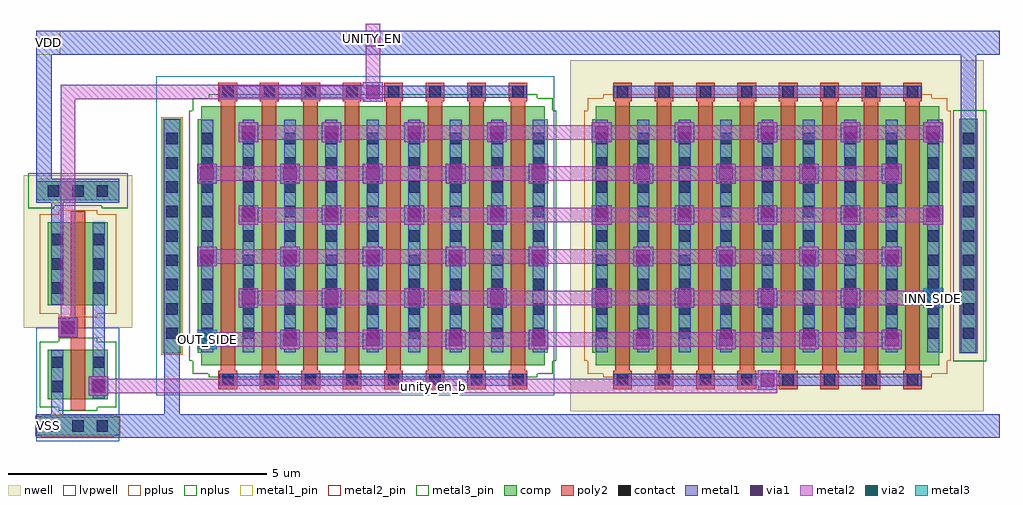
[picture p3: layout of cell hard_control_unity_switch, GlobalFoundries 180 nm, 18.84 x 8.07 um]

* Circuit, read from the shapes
.subckt hard_control_unity_switch INN_SIDE OUT_SIDE UNITY_EN VDD VSS unity_en_b
XM1 unity_en_b UNITY_EN VSS VSS nfet_03v3 w=0.95u l=0.28u
XM2 INN_SIDE UNITY_EN OUT_SIDE VSS nfet_03v3 w=5u l=0.28u m=8
XM3 unity_en_b UNITY_EN VDD VDD pfet_03v3 w=1.6u l=0.28u
XM4 OUT_SIDE unity_en_b INN_SIDE VDD pfet_03v3 w=5u l=0.28u m=8
.ends

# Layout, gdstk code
import gdstk
lib = gdstk.Library(unit=1e-6, precision=1e-09)
def R(c, l, rs):  # rectangles x0, y0, x1, y1
    for r in rs: c.add(gdstk.rectangle(r[:2], r[2:], *l))
def A(c, l, x, y, w, h, nx, ny, dx, dy):  # array of equal rectangles
    R(c, l, [(x+i*dx, y+j*dy, x+i*dx+w, y+j*dy+h) for i in range(nx) for j in range(ny)])
nwell = (21, 0)
comp = (22, 0)
poly2 = (30, 0)
pplus = (31, 0)
nplus = (32, 0)
contact = (33, 0)
metal1 = (34, 0)
metal1_pin = (34, 10)
via1 = (35, 0)
metal2 = (36, 0)
metal2_pin = (36, 10)
via2 = (38, 0)
metal3 = (42, 0)
metal3_pin = (42, 10)
lvpwell = (204, 0)

pfet_03v3_d4l52t = lib.new_cell('pfet_03v3_D4L52T')
R(pfet_03v3_d4l52t, nwell, [(-3.81,-3.39,3.81,3.39)])
R(pfet_03v3_d4l52t, comp, [(-3.315,-2.5,3.315,-2.255), (-3.38,-2.255,3.38,2.255), (-3.315,2.255,3.315,2.5)])
A(pfet_03v3_d4l52t, poly2, -2.98, -2.96, 0.36, 0.36, 8, 2, 0.8, 5.56)
A(pfet_03v3_d4l52t, poly2, -2.94, -2.6, 0.28, 5.2, 8, 1, 0.8, 0)
R(pfet_03v3_d4l52t, pplus, [(-3.17,-2.73,3.17,-2.66), (-3.475,-2.66,3.475,-2.415), (-3.54,-2.415,3.54,2.415), (-3.475,2.415,3.475,2.66), (-3.17,2.66,3.17,2.73)])
A(pfet_03v3_d4l52t, contact, -2.91, -2.89, 0.22, 0.22, 8, 2, 0.8, 5.56)
A(pfet_03v3_d4l52t, contact, -3.31, -1.99, 0.22, 0.22, 9, 9, 0.8, 0.47)
A(pfet_03v3_d4l52t, metal1, -2.97, -2.895, 0.34, 0.23, 8, 2, 0.8, 5.56)
A(pfet_03v3_d4l52t, metal1, -3.315, -2.245, 0.23, 4.49, 9, 1, 0.8, 0)

nfet_03v3_nd3l26 = lib.new_cell('nfet_03v3_ND3L26')
R(nfet_03v3_nd3l26, comp, [(-3.315,-2.5,3.315,-2.255), (-3.38,-2.255,3.38,2.255), (-3.315,2.255,3.315,2.5)])
A(nfet_03v3_nd3l26, poly2, -2.98, -2.96, 0.36, 0.36, 8, 2, 0.8, 5.56)
A(nfet_03v3_nd3l26, poly2, -2.94, -2.6, 0.28, 5.2, 8, 1, 0.8, 0)
R(nfet_03v3_nd3l26, nplus, [(-3.17,-2.73,3.17,-2.66), (-3.475,-2.66,3.475,-2.415), (-3.54,-2.415,3.54,2.415), (-3.475,2.415,3.475,2.66), (-3.17,2.66,3.17,2.73)])
A(nfet_03v3_nd3l26, contact, -2.91, -2.89, 0.22, 0.22, 8, 2, 0.8, 5.56)
A(nfet_03v3_nd3l26, contact, -3.31, -1.99, 0.22, 0.22, 9, 9, 0.8, 0.47)
A(nfet_03v3_nd3l26, metal1, -2.97, -2.895, 0.34, 0.23, 8, 2, 0.8, 5.56)
A(nfet_03v3_nd3l26, metal1, -3.315, -2.245, 0.23, 4.49, 9, 1, 0.8, 0)
R(nfet_03v3_nd3l26, lvpwell, [(-3.5,-3.08,3.5,3.08)])

switch_tg_analog_nf08 = lib.new_cell('switch_tg_analog_nf08')
R(switch_tg_analog_nf08, nwell, [(8.105,-3.39,16.095,3.39)])
R(switch_tg_analog_nf08, comp, [(0.235,-2.265,0.595,2.265), (15.615,-2.265,15.975,2.265)])
R(switch_tg_analog_nf08, pplus, [(0.205,-2.295,0.625,2.295)])
R(switch_tg_analog_nf08, nplus, [(15.505,-2.425,16.135,2.425)])
A(switch_tg_analog_nf08, contact, 0.305, -1.99, 0.22, 0.22, 1, 9, 0, 0.47)
A(switch_tg_analog_nf08, contact, 15.685, -1.99, 0.22, 0.22, 1, 9, 0, 0.47)
A(switch_tg_analog_nf08, metal1, 0.905, -2.19, 0.38, 0.38, 5, 3, 1.6, 1.6)
A(switch_tg_analog_nf08, metal1, 9.325, -2.19, 0.38, 0.38, 4, 3, 1.6, 1.6)
A(switch_tg_analog_nf08, metal1, 1.705, -1.39, 0.38, 0.38, 4, 3, 1.6, 1.6)
A(switch_tg_analog_nf08, metal1, 8.525, -1.39, 0.38, 0.38, 5, 3, 1.6, 1.6)
R(switch_tg_analog_nf08, metal1, [(1.325,-2.895,7.265,-2.665), (8.945,-2.895,14.885,-2.665), (0.265,-2.255,0.565,2.255), (15.645,-2.255,15.945,2.255), (1.325,2.665,7.265,2.895), (8.945,2.665,14.885,2.895)])
R(switch_tg_analog_nf08, metal1_pin, [(0.265,-0.5,0.565,0.5), (15.645,-0.5,15.945,0.5), (1.325,2.665,7.265,2.895), (8.945,2.665,14.885,2.895)])
A(switch_tg_analog_nf08, via1, 0.965, -2.13, 0.26, 0.26, 5, 3, 1.6, 1.6)
A(switch_tg_analog_nf08, via1, 9.385, -2.13, 0.26, 0.26, 4, 3, 1.6, 1.6)
A(switch_tg_analog_nf08, via1, 1.765, -1.33, 0.26, 0.26, 4, 3, 1.6, 1.6)
A(switch_tg_analog_nf08, via1, 8.585, -1.33, 0.26, 0.26, 5, 3, 1.6, 1.6)
A(switch_tg_analog_nf08, metal2, 0.905, -2.19, 0.38, 0.05, 5, 2, 1.6, 0.33)
A(switch_tg_analog_nf08, metal2, 9.325, -2.19, 0.38, 0.05, 4, 2, 1.6, 0.33)
A(switch_tg_analog_nf08, metal2, 0.905, -2.14, 13.6, 0.28, 1, 3, 0, 1.6)
A(switch_tg_analog_nf08, metal2, 1.705, -1.39, 0.38, 0.05, 4, 2, 1.6, 0.33)
A(switch_tg_analog_nf08, metal2, 8.525, -1.39, 0.38, 0.05, 5, 2, 1.6, 0.33)
A(switch_tg_analog_nf08, metal2, 1.705, -1.34, 13.6, 0.28, 1, 3, 0, 1.6)
A(switch_tg_analog_nf08, metal2, 0.905, -0.59, 0.38, 0.05, 5, 2, 1.6, 0.33)
A(switch_tg_analog_nf08, metal2, 9.325, -0.59, 0.38, 0.05, 4, 2, 1.6, 0.33)
A(switch_tg_analog_nf08, metal2, 1.705, 0.21, 0.38, 0.05, 4, 2, 1.6, 0.33)
A(switch_tg_analog_nf08, metal2, 8.525, 0.21, 0.38, 0.05, 5, 2, 1.6, 0.33)
A(switch_tg_analog_nf08, metal2, 0.905, 1.01, 0.38, 0.05, 5, 2, 1.6, 0.33)
A(switch_tg_analog_nf08, metal2, 9.325, 1.01, 0.38, 0.05, 4, 2, 1.6, 0.33)
A(switch_tg_analog_nf08, metal2, 1.705, 1.81, 0.38, 0.05, 4, 2, 1.6, 0.33)
A(switch_tg_analog_nf08, metal2, 8.525, 1.81, 0.38, 0.05, 5, 2, 1.6, 0.33)
R(switch_tg_analog_nf08, metal2_pin, [(0.905,-2.14,1.285,-1.86), (14.925,-1.34,15.305,-1.06)])
R(switch_tg_analog_nf08, lvpwell, [(0.115,-3.08,7.795,3.08)])
switch_tg_analog_nf08.add(gdstk.Reference(pfet_03v3_d4l52t, (11.915,0)))
switch_tg_analog_nf08.add(gdstk.Reference(nfet_03v3_nd3l26, (4.295,0)))
switch_tg_analog_nf08.add(gdstk.Label('G', (4.295,2.78), layer=34, texttype=10))
switch_tg_analog_nf08.add(gdstk.Label('GB', (11.915,2.78), layer=34, texttype=10))
switch_tg_analog_nf08.add(gdstk.Label('VSS', (0.415,0), layer=34, texttype=10))
switch_tg_analog_nf08.add(gdstk.Label('VDD', (15.795,0), layer=34, texttype=10))
switch_tg_analog_nf08.add(gdstk.Label('A', (1.095,-2), layer=36, texttype=10))
switch_tg_analog_nf08.add(gdstk.Label('B', (15.115,-1.2), layer=36, texttype=10))

logic_inverter_1x = lib.new_cell('logic_inverter_1x')
R(logic_inverter_1x, nwell, [(-0.25,2.13,1.85,5.07)])
R(logic_inverter_1x, comp, [(0,0.05,1.6,0.41), (0.22,0.75,1.38,1.7), (0.22,2.56,1.38,4.16), (0,4.59,1.6,4.95)])
R(logic_inverter_1x, poly2, [(0.66,0.53,0.94,1.95), (0.42,1.95,0.94,2.31), (0.66,2.31,0.94,4.38)])
R(logic_inverter_1x, pplus, [(0.105,0.02,1.495,0.03), (-0.02,0.03,1.62,0.43), (0.105,0.43,1.495,0.44), (0.43,2.33,1.17,2.4), (0.06,2.4,1.54,4.32), (0.43,4.32,1.17,4.39)])
R(logic_inverter_1x, nplus, [(0.43,0.52,1.17,0.59), (0.06,0.59,1.54,1.86), (0.43,1.86,1.17,1.93), (-0.16,4.43,0.34,4.48), (1.26,4.43,1.76,4.48), (-0.16,4.48,1.76,5.11)])
A(logic_inverter_1x, contact, 0.22, 0.12, 0.22, 0.22, 3, 2, 0.47, 4.54)
A(logic_inverter_1x, contact, 0.29, 2.78, 0.22, 0.22, 1, 3, 0, 0.47)
A(logic_inverter_1x, contact, 1.09, 2.78, 0.22, 0.22, 1, 3, 0, 0.47)
R(logic_inverter_1x, contact, [(0.29,0.88,0.51,1.1), (1.09,0.88,1.31,1.1), (0.29,1.35,0.51,1.57), (1.09,1.35,1.31,1.57), (0.49,2.02,0.71,2.24)])
R(logic_inverter_1x, metal1, [(0,0,1.6,0.46), (0.285,0.46,0.515,1.69), (1.085,0.76,1.315,4.15), (0.42,1.94,0.8,2.32), (0.285,2.57,0.515,4.54), (0,4.54,1.6,5)])
R(logic_inverter_1x, metal1_pin, [(0,0,1.6,0.46), (1.085,1.93,1.315,2.33), (0.42,1.94,0.8,2.32), (0,4.54,1.6,5)])
R(logic_inverter_1x, lvpwell, [(0,-0.07,1.6,2.13)])
logic_inverter_1x.add(gdstk.Label('IN', (0.61,2.13), layer=34, texttype=10))
logic_inverter_1x.add(gdstk.Label('OUT', (1.2,2.13), layer=34, texttype=10))
logic_inverter_1x.add(gdstk.Label('VDD', (0.8,4.77), layer=34, texttype=10))
logic_inverter_1x.add(gdstk.Label('VSS', (0.8,0.23), layer=34, texttype=10))

hard_control_unity_switc = lib.new_cell('hard_control_unity_switch')
R(hard_control_unity_switc, metal1, [(0,0,18.595,0.46), (2.465,0.46,2.765,1.9), (1.01,0.81,1.39,1.19), (13.925,0.93,14.305,1.31), (0.42,1.94,0.8,2.32), (0,4.54,0.3,7.4), (17.845,5.9,18.145,7.4), (6.305,6.49,6.685,6.87), (0,7.4,18.595,7.86)])
R(hard_control_unity_switc, metal1_pin, [(0,0,0.46,0.46), (0,7.4,0.46,7.86)])
R(hard_control_unity_switc, via1, [(1.07,0.87,1.33,1.13), (13.985,0.99,14.245,1.25), (0.48,2,0.74,2.26), (6.365,6.55,6.625,6.81)])
R(hard_control_unity_switc, metal2, [(1.01,0.81,1.39,0.86), (1.01,0.86,14.305,1.14), (1.01,1.14,1.39,1.19), (13.925,1.14,14.305,1.31), (3.105,1.71,3.485,2.09), (0.42,1.94,0.8,2.32), (0.47,2.32,0.75,6.54), (17.125,2.51,17.505,2.89), (6.305,6.49,6.685,6.54), (0.47,6.54,6.685,6.82), (6.305,6.82,6.685,6.87), (6.355,6.87,6.635,8)])
R(hard_control_unity_switc, metal2_pin, [(6.355,7.56,6.635,7.86)])
R(hard_control_unity_switc, via2, [(3.165,1.77,3.425,2.03), (17.185,2.57,17.445,2.83)])
R(hard_control_unity_switc, metal3, [(3.105,1.71,3.485,2.09), (17.125,2.51,17.505,2.89)])
R(hard_control_unity_switc, metal3_pin, [(3.105,1.71,3.485,2.09), (17.125,2.51,17.505,2.89)])
hard_control_unity_switc.add(gdstk.Reference(switch_tg_analog_nf08, (2.2,3.9)))
hard_control_unity_switc.add(gdstk.Reference(logic_inverter_1x, (0,0)))
hard_control_unity_switc.add(gdstk.Label('VSS', (0.23,0.23), layer=34, texttype=10))
hard_control_unity_switc.add(gdstk.Label('VDD', (0.23,7.63), layer=34, texttype=10))
hard_control_unity_switc.add(gdstk.Label('unity_en_b', (7.66,1), layer=36, texttype=0))
hard_control_unity_switc.add(gdstk.Label('UNITY_EN', (6.495,7.71), layer=36, texttype=10))
hard_control_unity_switc.add(gdstk.Label('INN_SIDE', (17.315,2.7), layer=42, texttype=10))
hard_control_unity_switc.add(gdstk.Label('OUT_SIDE', (3.295,1.9), layer=42, texttype=10))

lib.write_gds('hard_control_unity_switch.gds')
